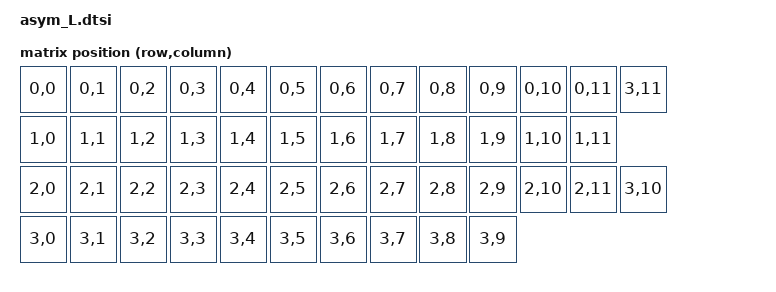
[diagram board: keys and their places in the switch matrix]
/*
 * Copyright (c) 2021 The ZMK Contributors
 *
 * SPDX-License-Identifier: MIT
 */

#include <dt-bindings/zmk/matrix_transform.h>

/ {
	core_a: connector{
		gpio-map =
			<1 0 &gpio0 1 0>,
			<2 0 &gpio0 2 0>,
			<3 0 &gpio0 3 0>,
			<4 0 &gpio0 4 0>,
			<5 0 &gpio0 5 0>,
			<6 0 &gpio0 6 0>,
			<7 0 &gpio0 7 0>,
			<8 0 &gpio0 8 0>,
			<9 0 &gpio0 9 0>,
			<10 0 &gpio0 10 0>,
			<11 0 &gpio0 11 0>,
			<12 0 &gpio0 12 0>,
			<13 0 &gpio0 13 0>,
			<14 0 &gpio0 14 0>,
			<15 0 &gpio0 15 0>,
			<26 0 &gpio0 26 0>,
			<27 0 &gpio0 27 0>,
			<28 0 &gpio0 28 0>,
			<29 0 &gpio0 29 0>;
	};
	
	chosen {
		zmk,battery = &vbatt;
		zmk,matrix_transform = &default_transform;
		zmk,kscan = &kscan0;
	};
	vbatt: vbatt{
		compatible = "zmk,battery-nrf-vddh";
	};
	default_transform: matrix_transform_0 {
		compatible = "zmk,matrix-transform";
		columns = <12>;
		rows = <4>;
		map = < 
			RC(0,0) RC(0,1) RC(0,2) RC(0,3) RC(0,4) RC(0,5)		RC(0,6) RC(0,7) RC(0,8) RC(0,9) RC(0,10) RC(0,11) RC(3,11)
			RC(1,0) RC(1,1) RC(1,2) RC(1,3) RC(1,4) RC(1,5)		RC(1,6) RC(1,7) RC(1,8) RC(1,9) RC(1,10) RC(1,11)
			RC(2,0) RC(2,1) RC(2,2) RC(2,3) RC(2,4) RC(2,5)		RC(2,6) RC(2,7) RC(2,8) RC(2,9) RC(2,10) RC(2,11) RC(3,10)
			RC(3,0) RC(3,1) RC(3,2) RC(3,3) RC(3,4) RC(3,5)		RC(3,6) RC(3,7) RC(3,8) RC(3,9)
		>;    //RC(row, col)
	};

	kscan0: kscan {
		compatible = "zmk,kscan-gpio-matrix";
		diode-direction = "col2row";
	};
};
